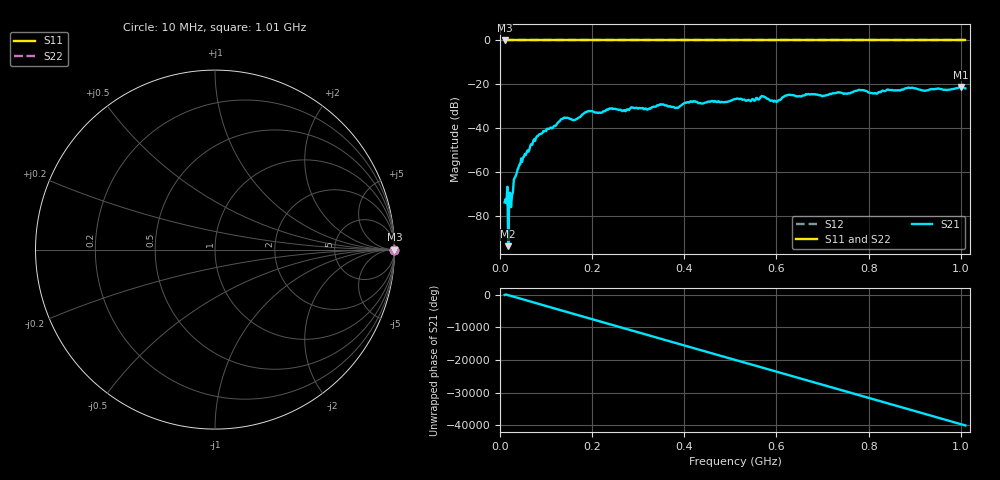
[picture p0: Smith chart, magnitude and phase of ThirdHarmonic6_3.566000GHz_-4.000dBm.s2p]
! 8/17/2025 11:48:17 AM
! C:\ANRITSUVNA\TEMP\TEMP.S2P
! CHANNEL.1
! TR.MEASUREMENT
! RAW.DATA
! RF.CORRECTION.OFF
! AVERAGING.OFF
! IF.BANDWIDTH: 5KHZ
! SWEEPTYPE:  FREQ.SWEEP(Linear)
! Reference Plane Port Info
! PORT:  PORT1  PORT2
! DISTANCE:  0  m  0  m
! TIME:  0  s  0  s
! PHASE.OFFSET:  0  deg.  0  deg.
! LOSS:  0  dB  0  dB
! REF.LOSS:  0  dB  0  dB
! REF.FREQ:  0  Hz  0  Hz
! Power Info
! POWER:  -20  dBm  -20  dBm
! EFF.POWER:  -20  dBm  -20  dBm
! SOURCE.ATTEN:  0  dB  0  dB
! TEST.ATTEN:  0  dB  0  dB
# GHZ S RI R 50.0
! FREQ.GHZ  S11RE  S11IM  S21RE  S21IM  S12RE  S12IM  S22RE  S22IM
!; PortSelection: Port_12
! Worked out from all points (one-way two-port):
!   501 points, 10 MHz to 1.01 GHz, reference 50 ohm
!   highest |S21| = -21.15 dB at 1 GHz (marker M1); lowest = -93.6 dB at 18 MHz (marker M2)
!   lowest |S11| = 0.0 dB at 10 MHz (marker M3)
!   |S11| at or under -10 dB: nowhere
!   |S22| runs from 0.0 to 0.0 dB; largest |S21 - S12| = 1.1
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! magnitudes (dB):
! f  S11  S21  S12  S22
! 10 MHz  0.0  -73.7  0.0  0.0
! 18 MHz  0.0  -93.6  0.0  0.0
! 22 MHz  0.0  -69.3  0.0  0.0
! 34 MHz  0.0  -61.7  0.0  0.0
! 42 MHz  0.0  -56.6  0.0  0.0
! 82 MHz  0.0  -43.5  0.0  0.0
! 136 MHz  0.0  -35.6  0.0  0.0
! 162 MHz  0.0  -36.2  0.0  0.0
! 178 MHz  0.0  -33.8  0.0  0.0
! 194 MHz  0.0  -32.2  0.0  0.0
! 322 MHz  0.0  -31.2  0.0  0.0
! 344 MHz  0.0  -29.6  0.0  0.0
! 384 MHz  0.0  -30.6  0.0  0.0
! 416 MHz  0.0  -27.9  0.0  0.0
! 510 MHz  0.0  -26.7  0.0  0.0
! 570 MHz  0.0  -25.4  0.0  0.0
! 598 MHz  0.0  -27.7  0.0  0.0
! 624 MHz  0.0  -24.8  0.0  0.0
! 678 MHz  0.0  -24.4  0.0  0.0
! 844 MHz  0.0  -22.5  0.0  0.0
! 1 GHz  0.0  -21.1  0.0  0.0
! 1.01 GHz  0.0  -21.8  0.0  0.0
